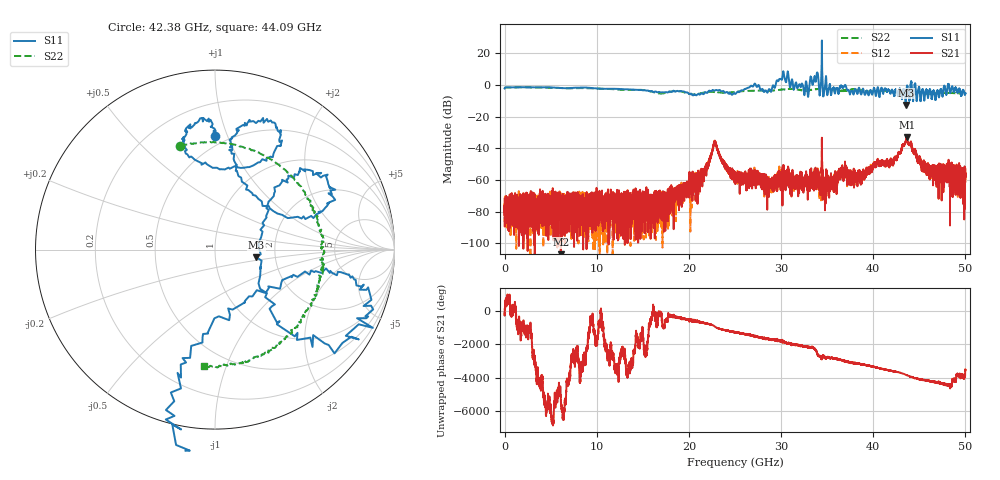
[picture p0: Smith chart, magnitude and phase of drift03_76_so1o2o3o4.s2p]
!Created with skrf (http://scikit-rf.org).
# Hz S RI R 50.0
!freq ReS11 ImS11 ReS21 ImS21 ReS12 ImS12 ReS22 ImS22
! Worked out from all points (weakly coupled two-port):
!   10000 points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, 5.3 MHz to 50 GHz, reference 50 ohm
!   highest |S21| = -32.68 dB at 43.65 GHz (marker M1); lowest = -110.3 dB at 6.105 GHz (marker M2)
!   lowest |S11| = -12.6 dB at 43.53 GHz (marker M3), VSWR 1.61, Z = 79.6 - j7.27 ohm
!   |S11| at or under -10 dB: 43.48319 GHz to 43.55686 GHz (73.67 MHz wide, 0.169 % of centre); 44.32413 GHz to 44.32917 GHz (5.038 MHz wide, 0.0114 % of centre); 44.7082 GHz to 44.71113 GHz (2.924 MHz wide, 0.00654 % of centre) (the widest 3 of 5)
!   |S22| runs from -5.9 to -1.3 dB; largest |S21 - S12| = 0.014
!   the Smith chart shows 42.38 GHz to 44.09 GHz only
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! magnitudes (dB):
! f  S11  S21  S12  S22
! 5.3 MHz  -2.1  -81.9  -71.1  -2.1
! 6.105 GHz  -1.8  -110.3  -76.2  -1.8
! 8.34 GHz  -1.5  -73.5  -84.6  -1.9
! 16.67 GHz  -4.4  -69.3  -80.4  -5.2
! 21.1 GHz  -5.8  -55.4  -55.7  -5.4
! 22.81 GHz  -3.4  -35.5  -35.4  -4.4
! 25.01 GHz  -5.5  -56.4  -56.6  -4.3
! 27.02 GHz  -0.4  -58.7  -58.8  -3.5
! 28.83 GHz  -3.5  -62.0  -66.0  -3.5
! 30.14 GHz  4.4  -56.6  -58.0  -2.8
! 32.74 GHz  2.0  -61.0  -63.2  -3.3
! 33.34 GHz  2.6  -59.0  -56.2  -2.9
! 33.82 GHz  4.0  -65.8  -55.1  -2.6
! 35.02 GHz  -6.4  -60.5  -63.2  -2.4
! 36.52 GHz  -0.3  -53.7  -52.4  -3.6
! 38.08 GHz  -2.5  -58.8  -58.6  -2.8
! 41.67 GHz  -2.9  -50.1  -50.3  -3.7
! 43.53 GHz  -12.6  -35.6  -35.5  -4.2
! 43.65 GHz  -1.1  -32.7  -33.1  -4.1
! 46.32 GHz  -7.7  -52.3  -55.4  -5.6
! 49.51 GHz  -6.2  -62.9  -55.1  -5.1
! 50 GHz  -5.2  -55.4  -52.2  -4.9
